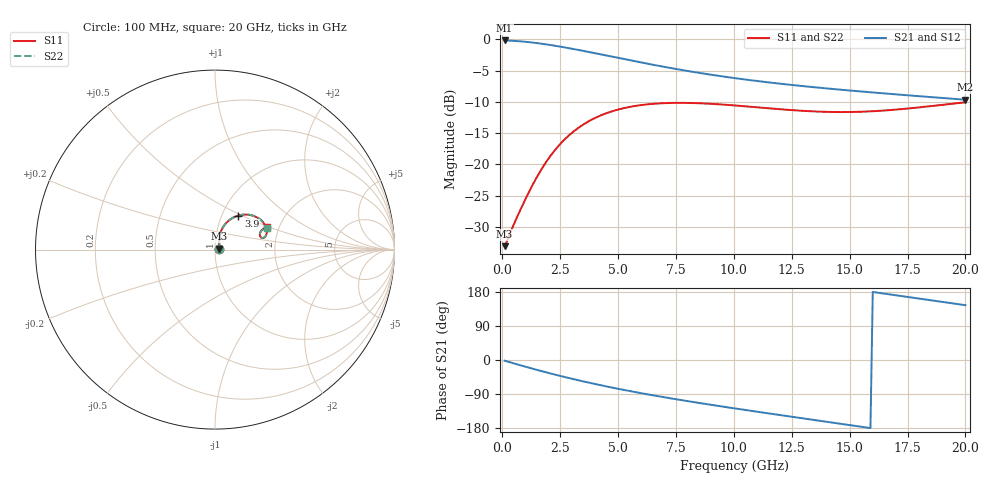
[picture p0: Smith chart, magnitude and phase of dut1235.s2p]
! Touchstone file exported from HFSS 2024.1.0
!  File:  C:/UserFiles/LocalFiles/RDL_TSV_Batchsim/temp_RDL_TSV_1235_1780265621.aedt
!  Generated:  06:29:06 AM Jun  1, 2026
!  Design:  RDL_TSV
!  Project:  temp_RDL_TSV_1235_1780265621
!  Setup:  Setup1
!  Solution:  Sweep
! Variables:
!  dtsv = 8.22um
!  hbump = 3um
!  htsv = 70.66um
!  ldown = 584.75um
!  lrdl = 353.79um
!  p = 40
!  p1 = 48.88um
!  rhole = 10um
!  subl = 3169.41um
!  t = 450um
!  tdown = 2.65um
!  trdl = 4.06um
!  viad = 10um
!  wdown = 14.06um
!  wrdl = 25.98um
!  xbump = 18um
# GHz S MA R 50.000000
! Terminal data exported
! Port[1] = TM1_1_T1
! Port[2] = TM1_4_T1
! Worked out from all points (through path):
!   200 points, 100 MHz to 20 GHz, reference 50 ohm
!   highest |S21| = -0.20 dB at 100 MHz (marker M1); lowest = -9.7 dB at 20 GHz (marker M2)
!   group delay of S21, straight-line fit = 28.1 ps
!   lowest |S11| = -33.1 dB at 100 MHz (marker M3), VSWR 1.05, Z = 52.2 + j0.539 ohm
!   |S11| at or under -10 dB: start of sweep to end of sweep
!   |S22| runs from -33.1 to -10.1 dB; largest |S21 - S12| = 5.6e-14
!   S11 on the Smith chart (normalised r, x): 100 MHz: 1.04, +0.01; 3.9 GHz: 1.19, +0.48; 20 GHz: 1.73, +0.47
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0.1  0.02222 13.4  0.9774 -1.8  0.9774 -1.8  0.02219 13.4
! Gamma 0 0 0 0
! Port Impedance 50 0 50 0
0.5  0.03328 45.2  0.97 -9.0  0.97 -9.0  0.03317 45.2
0.9  0.04827 60.6  0.9578 -16.0  0.9578 -16.0  0.04809 60.6
1.4  0.07371 69.9  0.9362 -24.5  0.9362 -24.5  0.07349 70.0
1.8  0.09843 71.8  0.915 -31.1  0.915 -31.1  0.0982 72.0
2.2  0.1251 70.9  0.8914 -37.4  0.8914 -37.4  0.1249 71.0
2.6  0.1521 68.3  0.8662 -43.5  0.8662 -43.5  0.152 68.4
3  0.1783 64.7  0.84 -49.4  0.84 -49.4  0.1781 64.9
3.5  0.2084 59.8  0.8067 -56.5  0.8067 -56.5  0.2082 59.9
3.9  0.2297 55.7  0.7801 -62.0  0.7801 -62.0  0.2296 55.7
4.6  0.2605 48.6  0.7345 -71.0  0.7345 -71.0  0.2604 48.7
5.3  0.2829 42.0  0.6914 -79.6  0.6914 -79.6  0.2828 42.1
6  0.2978 36.1  0.6516 -87.6  0.6516 -87.6  0.2978 36.2
6.8  0.3072 30.3  0.6105 -96.3  0.6105 -96.3  0.3072 30.3
8.4  0.3084 21.3  0.5422 -112.4  0.5422 -112.4  0.3085 21.3
10.1  0.2952 15.6  0.4871 -128.3  0.4871 -128.3  0.2954 15.6
11.7  0.2787 13.7  0.4475 -142.7  0.4475 -142.7  0.279 13.7
13.4  0.2653 14.7  0.4146 -157.7  0.4146 -157.7  0.2655 14.7
15  0.2621 17.7  0.3893 -171.8  0.3893 -171.8  0.2623 17.6
16.7  0.2711 21.1  0.3664 173.4  0.3664 173.4  0.2712 20.9
18.4  0.2906 23.1  0.346 158.5  0.346 158.5  0.2905 22.9
20  0.3134 23.2  0.3286 144.7  0.3286 144.7  0.3132 23.0
